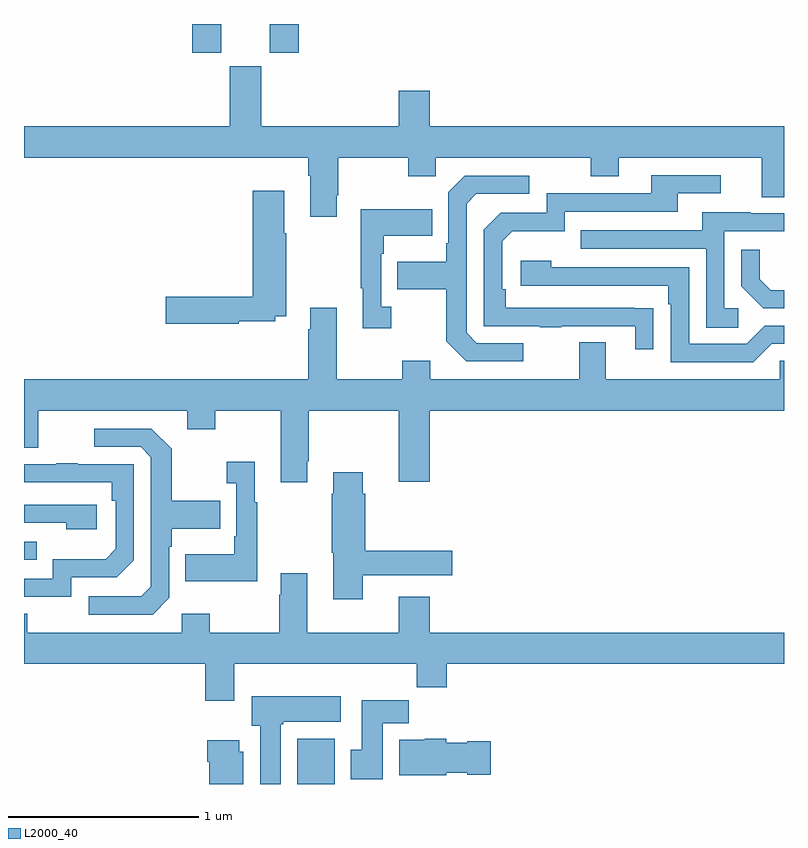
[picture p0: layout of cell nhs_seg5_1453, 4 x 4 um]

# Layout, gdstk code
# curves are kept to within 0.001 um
import gdstk
lib = gdstk.Library(unit=1e-6, precision=1e-09)
def R(c, l, rs):  # rectangles x0, y0, x1, y1
    for r in rs: c.add(gdstk.rectangle(r[:2], r[2:], *l))
def P(c, l, *ps):  # polygons
    for p in ps: c.add(gdstk.Polygon(p, *l))
L2000_40 = (2000, 40)

nhs_seg5_1453 = lib.new_cell('nhs_seg5_1453')
R(nhs_seg5_1453, L2000_40, [(200.438,850.799,200.635,851.038), (199,851.979,199.067,852.075), (199.886,854.649,200.038,854.799), (200.294,854.649,200.447,854.799)])
P(nhs_seg5_1453, L2000_40, [(200.647,853.897),(200.655,853.897),(200.655,854.096),(201.022,854.096),(201.022,853.997),(201.168,853.997),(201.168,854.096),(201.982,854.096),(201.982,853.997),(202.129,853.997),(202.129,854.096),(202.883,854.096),(202.883,853.888),(203,853.888),(203,854.26),(201.136,854.26),(201.136,854.449),(200.972,854.449),(200.972,854.26),(200.248,854.26),(200.248,854.577),(200.084,854.577),(200.084,854.26),(199,854.26),(199,854.096),(200.495,854.096),(200.495,854),(200.507,854),(200.507,853.785),(200.647,853.785)],
  [(202.313,853.304),(201.536,853.305),(201.536,853.402),(201.516,853.402),(201.516,853.656),(201.569,853.709),(201.846,853.709),(201.846,853.812),(202.441,853.812),(202.441,853.908),(202.666,853.908),(202.666,854.004),(202.301,854.004),(202.301,853.908),(201.75,853.908),(201.75,853.806),(201.51,853.806),(201.42,853.716),(201.42,853.209),(201.715,853.209),(201.715,853.204),(201.827,853.204),(201.827,853.209),(202.217,853.209),(202.217,853.086),(202.313,853.086)],
  [(201.628,853.119),(201.384,853.119),(201.33,853.173),(201.33,853.854),(201.381,853.905),(201.658,853.905),(201.658,854.001),(201.321,854.001),(201.234,853.914),(201.234,853.645),(201.222,853.645),(201.222,853.549),(200.965,853.549),(200.965,853.402),(201.222,853.402),(201.222,853.129),(201.327,853.023),(201.628,853.023)],
  [(200.13,853.234),(200.322,853.234),(200.322,853.262),(200.379,853.262),(200.379,853.697),(200.371,853.697),(200.371,853.921),(200.204,853.921),(200.204,853.364),(199.746,853.364),(199.746,853.222),(200.13,853.222)],
  [(200.932,853.31),(200.88,853.31),(200.88,853.589),(200.893,853.589),(200.893,853.685),(201.149,853.685),(201.149,853.825),(200.772,853.825),(200.772,853.409),(200.783,853.409),(200.783,853.197),(200.932,853.197)],
  [(202.759,853.302),(202.686,853.302),(202.686,853.707),(203,853.707),(203,853.803),(202.825,853.803),(202.825,853.807),(202.571,853.807),(202.571,853.713),(201.931,853.713),(201.931,853.617),(202.59,853.617),(202.59,853.201),(202.759,853.201)],
  [(203,853.398),(202.93,853.398),(202.873,853.455),(202.873,853.612),(202.776,853.612),(202.776,853.418),(202.892,853.302),(203,853.302)],
  [(202.935,853.116),(203,853.116),(203,853.212),(202.899,853.212),(202.803,853.116),(202.5,853.116),(202.5,853.518),(201.776,853.518),(201.776,853.552),(201.615,853.552),(201.615,853.422),(202.391,853.422),(202.391,853.325),(202.404,853.325),(202.404,853.02),(202.839,853.02)],
  [(200.491,852.499),(200.499,852.499),(200.499,852.764),(200.972,852.764),(200.972,852.39),(201.136,852.39),(201.136,852.764),(203,852.764),(203,853.026),(202.977,853.026),(202.977,852.928),(202.063,852.928),(202.063,853.123),(201.923,853.123),(201.923,852.928),(201.139,852.928),(201.139,853.027),(200.992,853.027),(200.992,852.928),(200.647,852.928),(200.647,853.306),(200.507,853.306),(200.507,853.193),(200.495,853.193),(200.495,852.928),(199,852.928),(199,852.57),(199.075,852.57),(199.075,852.764),(199.859,852.764),(199.859,852.665),(200.007,852.665),(200.007,852.764),(200.351,852.764),(200.351,852.387),(200.491,852.387)],
  [(199.764,851.778),(199.764,852.047),(199.777,852.047),(199.777,852.143),(200.033,852.143),(200.033,852.291),(199.777,852.291),(199.777,852.563),(199.671,852.669),(199.371,852.669),(199.371,852.573),(199.614,852.573),(199.668,852.519),(199.668,851.838),(199.617,851.787),(199.341,851.787),(199.341,851.691),(199.677,851.691)],
  [(200.227,852.283),(200.215,852.283),(200.215,852.496),(200.067,852.496),(200.067,852.383),(200.118,852.383),(200.118,852.103),(200.106,852.103),(200.106,852.007),(199.849,852.007),(199.849,851.867),(200.227,851.867)],
  [(199.248,851.886),(199.488,851.886),(199.578,851.976),(199.578,852.483),(199.283,852.483),(199.283,852.488),(199.171,852.488),(199.171,852.483),(199,852.483),(199,852.387),(199.462,852.387),(199.462,852.29),(199.482,852.29),(199.482,852.036),(199.429,851.983),(199.152,851.983),(199.152,851.88),(199,851.88),(199,851.784),(199.248,851.784)],
  [(200.782,851.897),(201.253,851.897),(201.253,852.027),(200.795,852.027),(200.795,852.326),(200.782,852.326),(200.782,852.439),(200.627,852.439),(200.627,852.326),(200.62,852.326),(200.62,852.015),(200.627,852.015),(200.627,851.772),(200.782,851.772)],
  [(199.384,852.27),(199,852.27),(199,852.174),(199.223,852.174),(199.223,852.14),(199.384,852.14)],
  [(200.972,851.596),(200.491,851.596),(200.491,851.908),(200.351,851.908),(200.351,851.795),(200.344,851.795),(200.344,851.596),(199.977,851.596),(199.977,851.695),(199.83,851.695),(199.83,851.596),(199.017,851.596),(199.017,851.695),(199,851.695),(199,851.432),(199.955,851.432),(199.955,851.238),(200.107,851.238),(200.107,851.432),(201.067,851.432),(201.067,851.308),(201.224,851.308),(201.224,851.432),(203,851.432),(203,851.596),(201.136,851.596),(201.136,851.785),(200.972,851.785)],
  [(200.35,851.113),(200.364,851.113),(200.364,851.126),(200.668,851.126),(200.668,851.26),(200.198,851.26),(200.198,851.106),(200.243,851.106),(200.243,850.799),(200.35,850.799)],
  [(200.887,851.12),(201.026,851.12),(201.026,851.239),(200.777,851.239),(200.777,850.98),(200.72,850.98),(200.72,850.824),(200.887,850.824)],
  [(201.222,850.859),(201.333,850.859),(201.333,850.847),(201.457,850.847),(201.457,851.025),(201.333,851.025),(201.333,851.017),(201.222,851.017),(201.222,851.038),(201.108,851.038),(201.108,851.032),(200.975,851.032),(200.975,850.844),(201.222,850.844)],
  [(200.155,850.968),(200.134,850.968),(200.134,851.029),(199.964,851.029),(199.964,850.916),(199.976,850.916),(199.976,850.799),(200.155,850.799)])

lib.write_gds('nhs_seg5_1453.gds')
